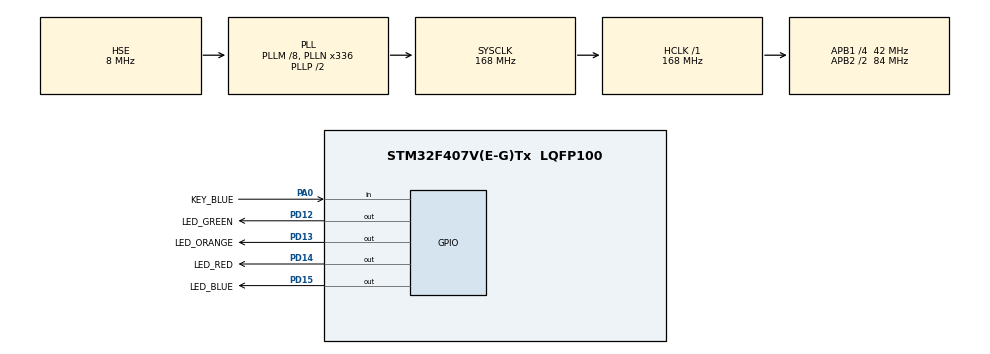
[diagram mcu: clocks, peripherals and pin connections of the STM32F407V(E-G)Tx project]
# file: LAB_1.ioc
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Mcu.Family=STM32F4
Mcu.Name=STM32F407V(E-G)Tx
Mcu.Package=LQFP100
NVIC.PriorityGroup=NVIC_PRIORITYGROUP_4
PA0-WKUP.GPIO_Label=KEY_BLUE
PA0-WKUP.Signal=GPIO_Input
PA13.Mode=Serial_Wire
PA13.Signal=SYS_JTMS-SWDIO
PA14.Mode=Serial_Wire
PA14.Signal=SYS_JTCK-SWCLK
PD12.GPIO_Label=LED_GREEN
PD12.Signal=GPIO_Output
PD13.GPIO_Label=LED_ORANGE
PD13.Signal=GPIO_Output
PD14.GPIO_Label=LED_RED
PD14.Signal=GPIO_Output
PD15.GPIO_Label=LED_BLUE
PD15.Signal=GPIO_Output
PH0-OSC_IN.Mode=HSE-External-Oscillator
PH0-OSC_IN.Signal=RCC_OSC_IN
PH1-OSC_OUT.Mode=HSE-External-Oscillator
PH1-OSC_OUT.Signal=RCC_OSC_OUT
ProjectManager.HeapSize=0x200
ProjectManager.StackSize=0x400
ProjectManager.TargetToolchain=MDK-ARM V5.32
RCC.48MHZClocksFreq_Value=84000000
RCC.AHBFreq_Value=168000000
RCC.APB1CLKDivider=RCC_HCLK_DIV4
RCC.APB1Freq_Value=42000000
RCC.APB1TimFreq_Value=84000000
RCC.APB2CLKDivider=RCC_HCLK_DIV2
RCC.APB2Freq_Value=84000000
RCC.APB2TimFreq_Value=168000000
RCC.CortexFreq_Value=168000000
RCC.HCLKFreq_Value=168000000
RCC.HSE_VALUE=8000000
RCC.HSI_VALUE=16000000
RCC.LSE_VALUE=32768
RCC.PLLM=8
RCC.PLLN=336
RCC.PLLSourceVirtual=RCC_PLLSOURCE_HSE
RCC.SYSCLKFreq_VALUE=168000000
RCC.SYSCLKSource=RCC_SYSCLKSOURCE_PLLCLK
RCC.VCOOutputFreq_Value=336000000
board=custom

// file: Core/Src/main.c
/* USER CODE BEGIN Header */
/**
  ******************************************************************************
  * @file           : main.c
  * @brief          : Main program body
  ******************************************************************************
  * @attention
  *
  * <h2><center>&copy; Copyright (c) 2022 STMicroelectronics.
  * All rights reserved.</center></h2>
  *
  * This software component is licensed by ST under BSD 3-Clause license,
  * the "License"; You may not use this file except in compliance with the
  * License. You may obtain a copy of the License at:
  *                        opensource.org/licenses/BSD-3-Clause
  *
  ******************************************************************************
  */
/* USER CODE END Header */
#include "main.h"

void SystemClock_Config(void);
static void MX_GPIO_Init(void);

/* USER CODE BEGIN 0 */
	uint8_t tick1200mc;
	uint8_t tick300mc;
	uint8_t tick100mc;
/* USER CODE END 0 */

int main(void)
{

  /* MCU Configuration--------------------------------------------------------*/

  /* Reset of all peripherals, Initializes the Flash interface and the Systick. */
  HAL_Init();

  /* Configure the system clock */
  //SystemClock_Config();

  /* Initialize all configured peripherals */
  MX_GPIO_Init();

  /* Infinite loop */
  /* USER CODE BEGIN WHILE */
	uint16_t button1;
	uint16_t button2;
	uint8_t counter =1;
	uint8_t flag =1;
  while (1)
  {
		button1 = KEY_BLUE_GPIO_Port->IDR;
		button1 &= KEY_BLUE_Pin;

		if(tick100mc)
		{
			button2 = KEY_BLUE_GPIO_Port->IDR;
			button2 &= KEY_BLUE_Pin;
			if(button1 !=0 && button2 == 0 && flag == 1)
			{
				flag =0;
			}
			if(button1 == 0 && button2 == 0 )
			{
				flag =0;
			}
			if(button1 !=0 && button2 != 0 && flag == 0)
			{
				flag =1;
			}
			if(button1 ==0 && button2 != 0)
			{
				flag =1;
			}

			tick100mc =0;
		}

		if(flag == 0)
		{
			if(tick300mc)
			{
				LED_RED_GPIO_Port->ODR ^= LED_RED_Pin;
			}
		}
		else
		{
			if(tick300mc)
			{
				LED_GREEN_GPIO_Port->ODR ^= LED_GREEN_Pin;
			}
		}

//		if(tick1200mc)
//		{
//			if(button == 0)
//			{
//				if(tick300mc == 1 && counter ==1)
//				{
//					LED_GREEN_GPIO_Port->ODR ^= LED_GREEN_Pin;
//					counter++;
//					tick300mc =0;
//				}
//				if(tick300mc == 1 && counter ==2)
//				{
//					LED_ORANGE_GPIO_Port->ODR ^= LED_ORANGE_Pin;
//					counter++;
//					tick300mc =0;
//				}
//				if(tick300mc == 1 && counter ==3)
//				{
//					LED_RED_GPIO_Port->ODR ^= LED_RED_Pin;
//					counter++;
//					tick300mc =0;
//				}
//				if(tick300mc == 1 && counter ==4)
//				{
//					LED_BLUE_GPIO_Port->ODR ^= LED_BLUE_Pin;
//					counter =1;
//					tick300mc =0;
//				}
//			}
//			else
//			{
//				if(tick300mc == 1 && counter ==1)
//				{
//					LED_BLUE_GPIO_Port->ODR ^= LED_BLUE_Pin;
//					counter++;
//					tick300mc =0;
//				}
//				if(tick300mc == 1 && counter ==2)
//				{
//					LED_RED_GPIO_Port->ODR ^= LED_RED_Pin;
//					counter++;
//					tick300mc =0;
//				}
//				if(tick300mc == 1 && counter ==3)
//				{
//					LED_ORANGE_GPIO_Port->ODR ^= LED_ORANGE_Pin;
//					counter++;
//					tick300mc =0;
//				}
//				if(tick300mc == 1 && counter ==4)
//				{
//					LED_GREEN_GPIO_Port->ODR ^= LED_GREEN_Pin;
//					counter =1;
//					tick300mc =0;
//				}
//			}

			tick300mc =0;
		}
    /* USER CODE END WHILE */

  }

void SystemClock_Config(void)
{
  RCC_OscInitTypeDef RCC_OscInitStruct = {0};
  RCC_ClkInitTypeDef RCC_ClkInitStruct = {0};

  /** Configure the main internal regulator output voltage
  */
  __HAL_RCC_PWR_CLK_ENABLE();
  __HAL_PWR_VOLTAGESCALING_CONFIG(PWR_REGULATOR_VOLTAGE_SCALE1);
  /** Initializes the RCC Oscillators according to the specified parameters
  * in the RCC_OscInitTypeDef structure.
  */
  RCC_OscInitStruct.OscillatorType = RCC_OSCILLATORTYPE_HSE;
  RCC_OscInitStruct.HSEState = RCC_HSE_ON;
  RCC_OscInitStruct.PLL.PLLState = RCC_PLL_ON;
  RCC_OscInitStruct.PLL.PLLSource = RCC_PLLSOURCE_HSE;
  RCC_OscInitStruct.PLL.PLLM = 8;
  RCC_OscInitStruct.PLL.PLLN = 336;
  RCC_OscInitStruct.PLL.PLLP = RCC_PLLP_DIV2;
  RCC_OscInitStruct.PLL.PLLQ = 4;
  if (HAL_RCC_OscConfig(&RCC_OscInitStruct) != HAL_OK)
  {
    Error_Handler();
  }
  /** Initializes the CPU, AHB and APB buses clocks
  */
  RCC_ClkInitStruct.ClockType = RCC_CLOCKTYPE_HCLK|RCC_CLOCKTYPE_SYSCLK
                              |RCC_CLOCKTYPE_PCLK1|RCC_CLOCKTYPE_PCLK2;
  RCC_ClkInitStruct.SYSCLKSource = RCC_SYSCLKSOURCE_PLLCLK;
  RCC_ClkInitStruct.AHBCLKDivider = RCC_SYSCLK_DIV1;
  RCC_ClkInitStruct.APB1CLKDivider = RCC_HCLK_DIV4;
  RCC_ClkInitStruct.APB2CLKDivider = RCC_HCLK_DIV2;

  if (HAL_RCC_ClockConfig(&RCC_ClkInitStruct, FLASH_LATENCY_5) != HAL_OK)
  {
    Error_Handler();
  }
}

static void MX_GPIO_Init(void)
{
  GPIO_InitTypeDef GPIO_InitStruct = {0};

  /* GPIO Ports Clock Enable */
  __HAL_RCC_GPIOH_CLK_ENABLE();
  __HAL_RCC_GPIOA_CLK_ENABLE();
  __HAL_RCC_GPIOD_CLK_ENABLE();

  /*Configure GPIO pin Output Level */
  HAL_GPIO_WritePin(GPIOD, LED_GREEN_Pin|LED_ORANGE_Pin|LED_RED_Pin|LED_BLUE_Pin, GPIO_PIN_RESET);

  /*Configure GPIO pin : KEY_BLUE_Pin */
  GPIO_InitStruct.Pin = KEY_BLUE_Pin;
  GPIO_InitStruct.Mode = GPIO_MODE_INPUT;
  GPIO_InitStruct.Pull = GPIO_NOPULL;
  HAL_GPIO_Init(KEY_BLUE_GPIO_Port, &GPIO_InitStruct);

  /*Configure GPIO pins : LED_GREEN_Pin LED_ORANGE_Pin LED_RED_Pin LED_BLUE_Pin */
  GPIO_InitStruct.Pin = LED_GREEN_Pin|LED_ORANGE_Pin|LED_RED_Pin|LED_BLUE_Pin;
  GPIO_InitStruct.Mode = GPIO_MODE_OUTPUT_PP;
  GPIO_InitStruct.Pull = GPIO_NOPULL;
  GPIO_InitStruct.Speed = GPIO_SPEED_FREQ_LOW;
  HAL_GPIO_Init(GPIOD, &GPIO_InitStruct);

}

void Error_Handler(void)
{
  __disable_irq();
  while (1)
  {
  }
}

/************************ (C) COPYRIGHT STMicroelectronics *****END OF FILE****/
